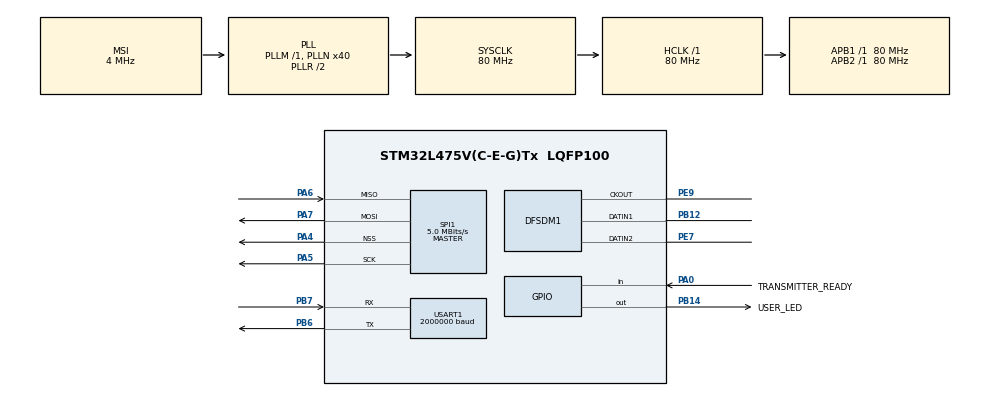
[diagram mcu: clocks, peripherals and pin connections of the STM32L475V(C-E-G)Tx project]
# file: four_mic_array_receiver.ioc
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DFSDM1.Divider=25
DFSDM1.DmaMode_reg_FIL0=ENABLE
DFSDM1.DmaMode_reg_FIL1=ENABLE
DFSDM1.FastMode_reg_FIL0=ENABLE
DFSDM1.FastMode_reg_FIL1=ENABLE
DFSDM1.Filter_regChannel_FIL0=DFSDM_CHANNEL_2
DFSDM1.Filter_regChannel_FIL1=DFSDM_CHANNEL_1
DFSDM1.Fosr_FIL0=200
DFSDM1.Fosr_FIL1=200
DFSDM1.RightBitShift_CH1=0x03
DFSDM1.Trigger_reg_FIL1=DFSDM_FILTER_SYNC_TRIGGER
DFSDM1.Type_spi_CH1=DFSDM_CHANNEL_SPI_FALLING
Dma.DFSDM1_FLT0.0.Direction=DMA_PERIPH_TO_MEMORY
Dma.DFSDM1_FLT0.0.Instance=DMA1_Channel4
Dma.DFSDM1_FLT0.0.MemDataAlignment=DMA_MDATAALIGN_WORD
Dma.DFSDM1_FLT0.0.MemInc=DMA_MINC_ENABLE
Dma.DFSDM1_FLT0.0.Mode=DMA_CIRCULAR
Dma.DFSDM1_FLT0.0.PeriphDataAlignment=DMA_PDATAALIGN_WORD
Dma.DFSDM1_FLT0.0.PeriphInc=DMA_PINC_DISABLE
Dma.DFSDM1_FLT0.0.Priority=DMA_PRIORITY_LOW
Dma.DFSDM1_FLT1.1.Direction=DMA_PERIPH_TO_MEMORY
Dma.DFSDM1_FLT1.1.Instance=DMA1_Channel5
Dma.DFSDM1_FLT1.1.MemDataAlignment=DMA_MDATAALIGN_WORD
Dma.DFSDM1_FLT1.1.MemInc=DMA_MINC_ENABLE
Dma.DFSDM1_FLT1.1.Mode=DMA_CIRCULAR
Dma.DFSDM1_FLT1.1.PeriphDataAlignment=DMA_PDATAALIGN_WORD
Dma.DFSDM1_FLT1.1.PeriphInc=DMA_PINC_DISABLE
Dma.DFSDM1_FLT1.1.Priority=DMA_PRIORITY_LOW
Dma.Request0=DFSDM1_FLT0
Dma.Request1=DFSDM1_FLT1
Mcu.Family=STM32L4
Mcu.Name=STM32L475V(C-E-G)Tx
Mcu.Package=LQFP100
NVIC.DMA1_Channel4_IRQn=true\:0\:0\:false\:false\:true\:false\:true\:true
NVIC.DMA1_Channel5_IRQn=true\:0\:0\:false\:false\:true\:false\:true\:true
NVIC.PriorityGroup=NVIC_PRIORITYGROUP_4
PA0.GPIO_Label=TRANSMITTER_READY
PA0.GPIO_Pull=GPIO_PULLDOWN
PA0.Signal=GPIO_Input
PA4.Mode=NSS_Signal_Hard_Output
PA4.Signal=SPI1_NSS
PA5.Mode=Full_Duplex_Master
PA5.Signal=SPI1_SCK
PA6.Mode=Full_Duplex_Master
PA6.Signal=SPI1_MISO
PA7.Mode=Full_Duplex_Master
PA7.Signal=SPI1_MOSI
PB12.Signal=S_DATAIN1DFSDM1
PB14.GPIO_Label=USER_LED
PB14.Signal=GPIO_Output
PB6.Mode=Asynchronous
PB6.Signal=USART1_TX
PB7.Mode=Asynchronous
PB7.Signal=USART1_RX
PE7.Signal=S_DATAIN2DFSDM1
PE9.Signal=S_CKOUTDFSDM1
ProjectManager.HeapSize=0x200
ProjectManager.StackSize=0x400
ProjectManager.TargetToolchain=STM32CubeIDE
RCC.ADCFreq_Value=48000000
RCC.AHBFreq_Value=80000000
RCC.APB1Freq_Value=80000000
RCC.APB1TimFreq_Value=80000000
RCC.APB2Freq_Value=80000000
RCC.APB2TimFreq_Value=80000000
RCC.CortexFreq_Value=80000000
RCC.HCLKFreq_Value=80000000
RCC.HSE_VALUE=8000000
RCC.HSI_VALUE=16000000
RCC.LSE_VALUE=32768
RCC.MSI_VALUE=4000000
RCC.PLLN=40
RCC.PLLSAI1N=24
RCC.SYSCLKFreq_VALUE=80000000
RCC.SYSCLKSource=RCC_SYSCLKSOURCE_PLLCLK
RCC.USBFreq_Value=48000000
RCC.VCOOutputFreq_Value=160000000
SH.S_CKOUTDFSDM1.0=DFSDM1_CKOUT,PDM_SPI_input_from_ch1_and_internal_clock
SH.S_CKOUTDFSDM1.1=DFSDM1_CKOUT,PDM_SPI_input_from_ch2_and_internal_clock
SH.S_DATAIN1DFSDM1.0=DFSDM1_DATIN1,PDM_SPI_input_from_ch1_and_internal_clock
SH.S_DATAIN2DFSDM1.0=DFSDM1_DATIN2,PDM_SPI_input_from_ch2_and_internal_clock
SPI1.BaudRatePrescaler=SPI_BAUDRATEPRESCALER_16
SPI1.CalculateBaudRate=5.0 MBits/s
SPI1.DataSize=SPI_DATASIZE_8BIT
SPI1.Direction=SPI_DIRECTION_2LINES
SPI1.Mode=SPI_MODE_MASTER
SPI1.VirtualNSS=VM_NSSHARD
SPI1.VirtualType=VM_MASTER
USART1.BaudRate=2000000
USART1.VirtualMode-Asynchronous=VM_ASYNC
board=B-L475E-IOT01A1

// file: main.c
/* USER CODE BEGIN Header */
/**
  ******************************************************************************
  * @file           : main.c
  * @brief        m
  *    : Board A receiver/master
  ******************************************************************************
  */
/* USER CODE END Header */
#include "main.h"

/* USER CODE BEGIN Includes */
#include "audio_frame.h"
#include "combined_audio_frame.h"
#include <stdint.h>
#include <string.h>
/* USER CODE END Includes */

DFSDM_Filter_HandleTypeDef hdfsdm1_filter0;
DFSDM_Filter_HandleTypeDef hdfsdm1_filter1;
DFSDM_Channel_HandleTypeDef hdfsdm1_channel1;
DFSDM_Channel_HandleTypeDef hdfsdm1_channel2;
DMA_HandleTypeDef hdma_dfsdm1_flt0;
DMA_HandleTypeDef hdma_dfsdm1_flt1;

SPI_HandleTypeDef hspi1;

UART_HandleTypeDef huart1;

/* USER CODE BEGIN PV */
volatile uint32_t spi_valid_frames = 0;
volatile uint32_t spi_timeouts = 0;
volatile uint32_t spi_transfer_errors = 0;
volatile uint32_t spi_bad_magic = 0;
volatile uint32_t spi_bad_length = 0;
volatile uint32_t spi_bad_checksum = 0;
volatile uint32_t spi_frame_id_gaps = 0;
volatile uint16_t spi_last_frame_id = 0;
volatile uint16_t spi_last_received_checksum = 0;
volatile uint16_t spi_last_expected_checksum = 0;
static uint32_t valid_frame_count = 0;
#define RECEIVER_STARTUP_DELAY_MS 250U
#define SPI_BAD_MAGIC_RECOVERY_THRESHOLD 32U
static uint32_t spi_bad_magic_streak = 0;

#define MIC_DMA_SAMPLES 1024U
#define MIC_HALF_SAMPLES (MIC_DMA_SAMPLES / 2U)
#define MIC_GAIN 4
static int32_t mic0_dma[MIC_DMA_SAMPLES];
static int32_t mic1_dma[MIC_DMA_SAMPLES];
static volatile uint8_t mic0_half_ready[2];
static volatile uint8_t mic1_half_ready[2];
#define LOCAL_AUDIO_QUEUE_DEPTH 4U
static int16_t local_audio_queue[LOCAL_AUDIO_QUEUE_DEPTH]
                         [AUDIO_FRAME_SAMPLES * AUDIO_CHANNELS];
static volatile uint8_t local_queue_head = 0;
static volatile uint8_t local_queue_tail = 0;
static int16_t latest_local_samples[AUDIO_FRAME_SAMPLES * AUDIO_CHANNELS];
static volatile uint32_t local_audio_underruns = 0;
static volatile uint32_t local_audio_overruns = 0;
static volatile uint32_t combined_audio_frames = 0;
static uint16_t combined_frame_id = 0;

#define SPI_FRAME_QUEUE_DEPTH 4U
static uint8_t spi_clock_bytes[AUDIO_FRAME_TOTAL_BYTES];
static AudioFrame_t spi_dma_frame;
static AudioFrame_t spi_frame_queue[SPI_FRAME_QUEUE_DEPTH];
static volatile uint8_t spi_queue_head = 0;
static volatile uint8_t spi_queue_tail = 0;
static volatile uint8_t spi_dma_active = 0;
static volatile uint8_t spi_dma_error = 0;
static volatile uint32_t spi_queue_overruns = 0;

#define UART_FRAME_QUEUE_DEPTH 4U
static CombinedAudioFrame_t uart_frame_queue[UART_FRAME_QUEUE_DEPTH];
static volatile uint8_t uart_queue_head = 0;
static volatile uint8_t uart_queue_tail = 0;
static volatile uint8_t uart_dma_active = 0;
static volatile uint32_t uart_queue_overruns = 0;
static volatile uint32_t uart_transfer_errors = 0;

/* USER CODE END PV */

void SystemClock_Config(void);
static void MX_GPIO_Init(void);
static void MX_DMA_Init(void);
static void MX_DFSDM1_Init(void);
static void MX_USART1_UART_Init(void);
static void MX_SPI1_Init(void);
/* USER CODE BEGIN PFP */
static int ValidateAudioFrame(const AudioFrame_t *frame);
static void StartSPIFrameDMA(void);
static void ServiceSPIFrameQueue(uint16_t *expected_frame_id);
static void ServiceUARTFrameQueue(void);
static void ProcessRemoteAudioFrame(AudioFrame_t *frame);
static int16_t ClampAudio(int32_t value);
static void ProcessLocalMicHalf(uint32_t offset);
static void ServiceLocalMicrophones(void);
static void TakeLocalAudioFrame(int16_t *samples);
static void BuildAndForwardCombinedFrame(const AudioFrame_t *remote_frame);
static void RecoverSPI1(void);
static int TransmitterReady(void);
/* USER CODE END PFP */

/* USER CODE BEGIN 0 */

/* Validate one complete frame after the SPI DMA transfer has finished. */
static int ValidateAudioFrame(const AudioFrame_t *frame)
{
    if (frame->magic0 != AUDIO_FRAME_MAGIC_0 ||
        frame->magic1 != AUDIO_FRAME_MAGIC_1)
    {
        spi_bad_magic++;
        spi_bad_magic_streak++;
        if (spi_bad_magic_streak >= SPI_BAD_MAGIC_RECOVERY_THRESHOLD)
        {
            RecoverSPI1();
            spi_bad_magic_streak = 0;
            HAL_Delay(1);
        }
        return 0;
    }

    spi_bad_magic_streak = 0;

    if (frame->payload_size != AUDIO_PAYLOAD_BYTES)
    {
        spi_bad_length++;
        return 0;
    }

    uint16_t expected_checksum = audio_checksum_u8(
        (uint8_t *)frame,
        AUDIO_FRAME_TOTAL_BYTES - AUDIO_FRAME_CRC_BYTES
    );
    spi_last_frame_id = frame->frame_id;
    spi_last_received_checksum = frame->checksum;
    spi_last_expected_checksum = expected_checksum;

    if (frame->checksum != expected_checksum)
    {
        spi_bad_checksum++;
        return 0;
    }

    spi_valid_frames++;
    return 1;
}

static void StartSPIFrameDMA(void)
{
    if (spi_dma_active || spi_dma_error || !TransmitterReady())
    {
        return;
    }

    if (HAL_SPI_TransmitReceive_DMA(&hspi1,
                                   spi_clock_bytes,
                                   (uint8_t *)&spi_dma_frame,
                                   AUDIO_FRAME_TOTAL_BYTES) != HAL_OK)
    {
        spi_transfer_errors++;
        spi_dma_error = 1;
        return;
    }

    spi_dma_active = 1;
}

/*
 * Placeholder for using the received Board B audio.
 */
static int16_t ClampAudio(int32_t value)
{
    if (value > 32767) return 32767;
    if (value < -32768) return -32768;
    return (int16_t)value;
}

static void ProcessLocalMicHalf(uint32_t offset)
{
    /* Each DMA half contains 512 samples, enough for two 256-sample frames. */
    for (uint32_t base = 0; base < MIC_HALF_SAMPLES; base += AUDIO_FRAME_SAMPLES)
    {
        uint8_t next_head = (uint8_t)((local_queue_head + 1U) % LOCAL_AUDIO_QUEUE_DEPTH);
        if (next_head == local_queue_tail)
        {
            local_audio_overruns++;
            continue;
        }
        int16_t *local_frame = local_audio_queue[local_queue_head];
        for (uint32_t i = 0; i < AUDIO_FRAME_SAMPLES; i++)
        {
            uint32_t index = offset + base + i;
            local_frame[2U * i] =
                ClampAudio((mic0_dma[index] >> 8) * MIC_GAIN);
            local_frame[2U * i + 1U] =
                ClampAudio((mic1_dma[index] >> 8) * MIC_GAIN);
        }
        memcpy(latest_local_samples, local_frame, sizeof(latest_local_samples));
        local_queue_head = next_head;
    }
}

static void TakeLocalAudioFrame(int16_t *samples)
{
    if (local_queue_tail != local_queue_head)
    {
        memcpy(samples, local_audio_queue[local_queue_tail],
               sizeof(latest_local_samples));
        local_queue_tail = (uint8_t)((local_queue_tail + 1U) % LOCAL_AUDIO_QUEUE_DEPTH);
    }
    else
    {
        memcpy(samples, latest_local_samples, sizeof(latest_local_samples));
        local_audio_underruns++;
    }
}

/* Re-arm the master peripheral after a slave was unplugged mid-transaction. */
static void RecoverSPI1(void)
{
    (void)HAL_SPI_Abort(&hspi1);
    HAL_SPI_DeInit(&hspi1);
    HAL_Delay(1);
    MX_SPI1_Init();
    spi_dma_active = 0;
    spi_dma_error = 0;
}

static int TransmitterReady(void)
{
    return HAL_GPIO_ReadPin(TRANSMITTER_READY_GPIO_Port,
                            TRANSMITTER_READY_Pin) == GPIO_PIN_SET;
}

static void ServiceLocalMicrophones(void)
{
    if (mic0_half_ready[0] && mic1_half_ready[0])
    {
        mic0_half_ready[0] = 0;
        mic1_half_ready[0] = 0;
        ProcessLocalMicHalf(0);
    }
    if (mic0_half_ready[1] && mic1_half_ready[1])
    {
        mic0_half_ready[1] = 0;
        mic1_half_ready[1] = 0;
        ProcessLocalMicHalf(MIC_HALF_SAMPLES);
    }
}

static void BuildAndForwardCombinedFrame(const AudioFrame_t *remote_frame)
{
    int16_t local_samples[AUDIO_FRAME_SAMPLES * AUDIO_CHANNELS];
    uint8_t next_head = (uint8_t)((uart_queue_head + 1U) % UART_FRAME_QUEUE_DEPTH);

    if (next_head == uart_queue_tail)
    {
        uart_queue_overruns++;
        return;
    }

    CombinedAudioFrame_t *combined = &uart_frame_queue[uart_queue_head];

    TakeLocalAudioFrame(local_samples);

    combined->magic0 = COMBINED_AUDIO_MAGIC_0;
    combined->magic1 = COMBINED_AUDIO_MAGIC_1;
    combined->frame_id = combined_frame_id++;
    combined->payload_size = COMBINED_AUDIO_PAYLOAD_BYTES;

    for (uint32_t i = 0; i < AUDIO_FRAME_SAMPLES; i++)
    {
        /* Channels 0/1 are transmitter mics; 2/3 are receiver mics. */
        combined->samples[4U * i] = remote_frame->samples[2U * i];
        combined->samples[4U * i + 1U] = remote_frame->samples[2U * i + 1U];
        combined->samples[4U * i + 2U] = local_samples[2U * i];
        combined->samples[4U * i + 3U] = local_samples[2U * i + 1U];
    }

    combined->checksum = audio_checksum_u8(
        (uint8_t *)combined,
        COMBINED_AUDIO_TOTAL_BYTES - COMBINED_AUDIO_CRC_BYTES);

    uart_queue_head = next_head;
}

static void ServiceUARTFrameQueue(void)
{
    if (uart_dma_active || uart_queue_tail == uart_queue_head)
    {
        return;
    }

    if (HAL_UART_Transmit_DMA(
            &huart1,
            (uint8_t *)&uart_frame_queue[uart_queue_tail],
            COMBINED_AUDIO_TOTAL_BYTES) == HAL_OK)
    {
        uart_dma_active = 1;
    }
    else
    {
        uart_transfer_errors++;
    }
}

static void ServiceSPIFrameQueue(uint16_t *expected_frame_id)
{
    while (spi_queue_tail != spi_queue_head)
    {
        AudioFrame_t *frame = &spi_frame_queue[spi_queue_tail];

        if (ValidateAudioFrame(frame))
        {
            if (frame->frame_id != *expected_frame_id)
            {
                if (spi_valid_frames > 1U)
                {
                    spi_frame_id_gaps +=
                        (uint16_t)(frame->frame_id - *expected_frame_id);
                }
                *expected_frame_id = frame->frame_id;
            }

            (*expected_frame_id)++;
            ProcessRemoteAudioFrame(frame);
        }

        spi_queue_tail = (uint8_t)((spi_queue_tail + 1U) % SPI_FRAME_QUEUE_DEPTH);
    }
}

static void ProcessRemoteAudioFrame(AudioFrame_t *frame)
{
    valid_frame_count++;
    if ((valid_frame_count % 16U) == 0U)
    {
        HAL_GPIO_TogglePin(USER_LED_GPIO_Port, USER_LED_Pin);
    }
    BuildAndForwardCombinedFrame(frame);
}

void HAL_DFSDM_FilterRegConvHalfCpltCallback(DFSDM_Filter_HandleTypeDef *hdfsdm_filter)
{
    if (hdfsdm_filter == &hdfsdm1_filter0) mic0_half_ready[0] = 1;
    if (hdfsdm_filter == &hdfsdm1_filter1) mic1_half_ready[0] = 1;
}

void HAL_DFSDM_FilterRegConvCpltCallback(DFSDM_Filter_HandleTypeDef *hdfsdm_filter)
{
    if (hdfsdm_filter == &hdfsdm1_filter0) mic0_half_ready[1] = 1;
    if (hdfsdm_filter == &hdfsdm1_filter1) mic1_half_ready[1] = 1;
}

void HAL_SPI_TxRxCpltCallback(SPI_HandleTypeDef *hspi)
{
    if (hspi != &hspi1)
    {
        return;
    }

    if (((spi_queue_head + 1U) % SPI_FRAME_QUEUE_DEPTH) == spi_queue_tail)
    {
        spi_queue_overruns++;
    }
    else
    {
        memcpy(&spi_frame_queue[spi_queue_head], &spi_dma_frame,
               sizeof(spi_dma_frame));
        spi_queue_head = (uint8_t)((spi_queue_head + 1U) % SPI_FRAME_QUEUE_DEPTH);
    }

    spi_dma_active = 0;
}

void HAL_SPI_ErrorCallback(SPI_HandleTypeDef *hspi)
{
    if (hspi == &hspi1)
    {
        spi_transfer_errors++;
        spi_dma_active = 0;
        spi_dma_error = 1;
    }
}

void HAL_UART_TxCpltCallback(UART_HandleTypeDef *huart)
{
    if (huart == &huart1)
    {
        uart_queue_tail =
            (uint8_t)((uart_queue_tail + 1U) % UART_FRAME_QUEUE_DEPTH);
        uart_dma_active = 0;
        combined_audio_frames++;
    }
}

void HAL_UART_ErrorCallback(UART_HandleTypeDef *huart)
{
    if (huart == &huart1)
    {
        uart_transfer_errors++;
        uart_dma_active = 0;
        if (uart_queue_tail != uart_queue_head)
        {
            uart_queue_tail =
                (uint8_t)((uart_queue_tail + 1U) % UART_FRAME_QUEUE_DEPTH);
        }
    }
}

/* USER CODE END 0 */

int main(void)
{

  /* USER CODE BEGIN 1 */
  uint16_t expected_frame_id = 0;
  /* USER CODE END 1 */

  /* MCU Configuration--------------------------------------------------------*/

  /* Reset of all peripherals, Initializes the Flash interface and the Systick. */
  HAL_Init();

  /* Configure the system clock */
  SystemClock_Config();

  /* Initialize all configured peripherals */
  MX_GPIO_Init();
  MX_DMA_Init();
  MX_DFSDM1_Init();
  MX_USART1_UART_Init();
  MX_SPI1_Init();
  /* USER CODE BEGIN 2 */
  if (HAL_DFSDM_FilterRegularStart_DMA(&hdfsdm1_filter1, mic1_dma,
                                       MIC_DMA_SAMPLES) != HAL_OK)
  {
      Error_Handler();
  }
  if (HAL_DFSDM_FilterRegularStart_DMA(&hdfsdm1_filter0, mic0_dma,
                                       MIC_DMA_SAMPLES) != HAL_OK)
  {
      Error_Handler();
  }
  /* Let the transmitter boot and arm its SPI slave before we clock it. */
  HAL_Delay(RECEIVER_STARTUP_DELAY_MS);
  /*
   * Board A is the SPI master. It drives hardware NSS on PA4 low and
   * supplies SPI clocks,
   * and reads one complete frame from the transmitter slave.
   */
  /* USER CODE END 2 */

  /* Infinite loop */
  /* USER CODE BEGIN WHILE */

  while (1)
  {

    ServiceLocalMicrophones();

    /*
     * SPI and UART now run in the background.  The main loop only validates
     * completed SPI frames, builds combined frames, and starts queued UART
     * DMA transfers; it never waits for either serial transfer to finish.
     */
    ServiceSPIFrameQueue(&expected_frame_id);
    ServiceUARTFrameQueue();

    if (spi_dma_error)
    {
        RecoverSPI1();
    }

    StartSPIFrameDMA();

    /* USER CODE END WHILE */

  }
}

void SystemClock_Config(void)
{
  RCC_OscInitTypeDef RCC_OscInitStruct = {0};
  RCC_ClkInitTypeDef RCC_ClkInitStruct = {0};

  /** Configure the main internal regulator output voltage
  */
  if (HAL_PWREx_ControlVoltageScaling(PWR_REGULATOR_VOLTAGE_SCALE1) != HAL_OK)
  {
    Error_Handler();
  }

  /** Initializes the RCC Oscillators according to the specified parameters
  * in the RCC_OscInitTypeDef structure.
  */
  RCC_OscInitStruct.OscillatorType = RCC_OSCILLATORTYPE_MSI;
  RCC_OscInitStruct.MSIState = RCC_MSI_ON;
  RCC_OscInitStruct.MSICalibrationValue = 0;
  RCC_OscInitStruct.MSIClockRange = RCC_MSIRANGE_6;
  RCC_OscInitStruct.PLL.PLLState = RCC_PLL_ON;
  RCC_OscInitStruct.PLL.PLLSource = RCC_PLLSOURCE_MSI;
  RCC_OscInitStruct.PLL.PLLM = 1;
  RCC_OscInitStruct.PLL.PLLN = 40;
  RCC_OscInitStruct.PLL.PLLP = RCC_PLLP_DIV7;
  RCC_OscInitStruct.PLL.PLLQ = RCC_PLLQ_DIV2;
  RCC_OscInitStruct.PLL.PLLR = RCC_PLLR_DIV2;
  if (HAL_RCC_OscConfig(&RCC_OscInitStruct) != HAL_OK)
  {
    Error_Handler();
  }

  /** Initializes the CPU, AHB and APB buses clocks
  */
  RCC_ClkInitStruct.ClockType = RCC_CLOCKTYPE_HCLK|RCC_CLOCKTYPE_SYSCLK
                              |RCC_CLOCKTYPE_PCLK1|RCC_CLOCKTYPE_PCLK2;
  RCC_ClkInitStruct.SYSCLKSource = RCC_SYSCLKSOURCE_PLLCLK;
  RCC_ClkInitStruct.AHBCLKDivider = RCC_SYSCLK_DIV1;
  RCC_ClkInitStruct.APB1CLKDivider = RCC_HCLK_DIV1;
  RCC_ClkInitStruct.APB2CLKDivider = RCC_HCLK_DIV1;

  if (HAL_RCC_ClockConfig(&RCC_ClkInitStruct, FLASH_LATENCY_4) != HAL_OK)
  {
    Error_Handler();
  }
}

static void MX_DFSDM1_Init(void)
{

  hdfsdm1_filter0.Instance = DFSDM1_Filter0;
  hdfsdm1_filter0.Init.RegularParam.Trigger = DFSDM_FILTER_SW_TRIGGER;
  hdfsdm1_filter0.Init.RegularParam.FastMode = ENABLE;
  hdfsdm1_filter0.Init.RegularParam.DmaMode = ENABLE;
  hdfsdm1_filter0.Init.FilterParam.SincOrder = DFSDM_FILTER_FASTSINC_ORDER;
  hdfsdm1_filter0.Init.FilterParam.Oversampling = 200;
  hdfsdm1_filter0.Init.FilterParam.IntOversampling = 1;
  if (HAL_DFSDM_FilterInit(&hdfsdm1_filter0) != HAL_OK)
  {
    Error_Handler();
  }
  hdfsdm1_filter1.Instance = DFSDM1_Filter1;
  hdfsdm1_filter1.Init.RegularParam.Trigger = DFSDM_FILTER_SYNC_TRIGGER;
  hdfsdm1_filter1.Init.RegularParam.FastMode = ENABLE;
  hdfsdm1_filter1.Init.RegularParam.DmaMode = ENABLE;
  hdfsdm1_filter1.Init.FilterParam.SincOrder = DFSDM_FILTER_FASTSINC_ORDER;
  hdfsdm1_filter1.Init.FilterParam.Oversampling = 200;
  hdfsdm1_filter1.Init.FilterParam.IntOversampling = 1;
  if (HAL_DFSDM_FilterInit(&hdfsdm1_filter1) != HAL_OK)
  {
    Error_Handler();
  }
  hdfsdm1_channel1.Instance = DFSDM1_Channel1;
  hdfsdm1_channel1.Init.OutputClock.Activation = ENABLE;
  hdfsdm1_channel1.Init.OutputClock.Selection = DFSDM_CHANNEL_OUTPUT_CLOCK_SYSTEM;
  hdfsdm1_channel1.Init.OutputClock.Divider = 25;
  hdfsdm1_channel1.Init.Input.Multiplexer = DFSDM_CHANNEL_EXTERNAL_INPUTS;
  hdfsdm1_channel1.Init.Input.DataPacking = DFSDM_CHANNEL_STANDARD_MODE;
  hdfsdm1_channel1.Init.Input.Pins = DFSDM_CHANNEL_SAME_CHANNEL_PINS;
  hdfsdm1_channel1.Init.SerialInterface.Type = DFSDM_CHANNEL_SPI_FALLING;
  hdfsdm1_channel1.Init.SerialInterface.SpiClock = DFSDM_CHANNEL_SPI_CLOCK_INTERNAL;
  hdfsdm1_channel1.Init.Awd.FilterOrder = DFSDM_CHANNEL_FASTSINC_ORDER;
  hdfsdm1_channel1.Init.Awd.Oversampling = 1;
  hdfsdm1_channel1.Init.Offset = 0;
  hdfsdm1_channel1.Init.RightBitShift = 0x03;
  if (HAL_DFSDM_ChannelInit(&hdfsdm1_channel1) != HAL_OK)
  {
    Error_Handler();
  }
  hdfsdm1_channel2.Instance = DFSDM1_Channel2;
  hdfsdm1_channel2.Init.OutputClock.Activation = ENABLE;
  hdfsdm1_channel2.Init.OutputClock.Selection = DFSDM_CHANNEL_OUTPUT_CLOCK_SYSTEM;
  hdfsdm1_channel2.Init.OutputClock.Divider = 25;
  hdfsdm1_channel2.Init.Input.Multiplexer = DFSDM_CHANNEL_EXTERNAL_INPUTS;
  hdfsdm1_channel2.Init.Input.DataPacking = DFSDM_CHANNEL_STANDARD_MODE;
  hdfsdm1_channel2.Init.Input.Pins = DFSDM_CHANNEL_SAME_CHANNEL_PINS;
  hdfsdm1_channel2.Init.SerialInterface.Type = DFSDM_CHANNEL_SPI_RISING;
  hdfsdm1_channel2.Init.SerialInterface.SpiClock = DFSDM_CHANNEL_SPI_CLOCK_INTERNAL;
  hdfsdm1_channel2.Init.Awd.FilterOrder = DFSDM_CHANNEL_FASTSINC_ORDER;
  hdfsdm1_channel2.Init.Awd.Oversampling = 1;
  hdfsdm1_channel2.Init.Offset = 0;
  hdfsdm1_channel2.Init.RightBitShift = 0x00;
  if (HAL_DFSDM_ChannelInit(&hdfsdm1_channel2) != HAL_OK)
  {
    Error_Handler();
  }
  if (HAL_DFSDM_FilterConfigRegChannel(&hdfsdm1_filter0, DFSDM_CHANNEL_2, DFSDM_CONTINUOUS_CONV_ON) != HAL_OK)
  {
    Error_Handler();
  }
  if (HAL_DFSDM_FilterConfigRegChannel(&hdfsdm1_filter1, DFSDM_CHANNEL_1, DFSDM_CONTINUOUS_CONV_ON) != HAL_OK)
  {
    Error_Handler();
  }

}

static void MX_SPI1_Init(void)
{

  /* SPI1 parameter configuration*/
  hspi1.Instance = SPI1;
  hspi1.Init.Mode = SPI_MODE_MASTER;
  hspi1.Init.Direction = SPI_DIRECTION_2LINES;
  hspi1.Init.DataSize = SPI_DATASIZE_8BIT;
  hspi1.Init.CLKPolarity = SPI_POLARITY_LOW;
  hspi1.Init.CLKPhase = SPI_PHASE_1EDGE;
  hspi1.Init.NSS = SPI_NSS_HARD_OUTPUT;
  hspi1.Init.BaudRatePrescaler = SPI_BAUDRATEPRESCALER_16;
  hspi1.Init.FirstBit = SPI_FIRSTBIT_MSB;
  hspi1.Init.TIMode = SPI_TIMODE_DISABLE;
  hspi1.Init.CRCCalculation = SPI_CRCCALCULATION_DISABLE;
  hspi1.Init.CRCPolynomial = 7;
  hspi1.Init.CRCLength = SPI_CRC_LENGTH_DATASIZE;
  hspi1.Init.NSSPMode = SPI_NSS_PULSE_ENABLE;
  if (HAL_SPI_Init(&hspi1) != HAL_OK)
  {
    Error_Handler();
  }

}

static void MX_USART1_UART_Init(void)
{

  huart1.Instance = USART1;
  huart1.Init.BaudRate = 2000000;
  huart1.Init.WordLength = UART_WORDLENGTH_8B;
  huart1.Init.StopBits = UART_STOPBITS_1;
  huart1.Init.Parity = UART_PARITY_NONE;
  huart1.Init.Mode = UART_MODE_TX_RX;
  huart1.Init.HwFlowCtl = UART_HWCONTROL_NONE;
  huart1.Init.OverSampling = UART_OVERSAMPLING_16;
  huart1.Init.OneBitSampling = UART_ONE_BIT_SAMPLE_DISABLE;
  huart1.AdvancedInit.AdvFeatureInit = UART_ADVFEATURE_NO_INIT;
  if (HAL_UART_Init(&huart1) != HAL_OK)
  {
    Error_Handler();
  }

}

static void MX_DMA_Init(void)
{

  /* DMA controller clock enable */
  __HAL_RCC_DMA1_CLK_ENABLE();

  /* DMA interrupt init */
  /* DMA1_Channel4_IRQn interrupt configuration */
  HAL_NVIC_SetPriority(DMA1_Channel4_IRQn, 0, 0);
  HAL_NVIC_EnableIRQ(DMA1_Channel4_IRQn);
  /* DMA1_Channel5_IRQn interrupt configuration */
  HAL_NVIC_SetPriority(DMA1_Channel5_IRQn, 0, 0);
  HAL_NVIC_EnableIRQ(DMA1_Channel5_IRQn);

}

static void MX_GPIO_Init(void)
{
  GPIO_InitTypeDef GPIO_InitStruct = {0};

  /* GPIO Ports Clock Enable */
  __HAL_RCC_GPIOA_CLK_ENABLE();
  __HAL_RCC_GPIOE_CLK_ENABLE();
  __HAL_RCC_GPIOB_CLK_ENABLE();

  /*Configure GPIO pin Output Level */
  HAL_GPIO_WritePin(USER_LED_GPIO_Port, USER_LED_Pin, GPIO_PIN_RESET);

  /*Configure GPIO pin : TRANSMITTER_READY_Pin */
  GPIO_InitStruct.Pin = TRANSMITTER_READY_Pin;
  GPIO_InitStruct.Mode = GPIO_MODE_INPUT;
  GPIO_InitStruct.Pull = GPIO_NOPULL;
  HAL_GPIO_Init(TRANSMITTER_READY_GPIO_Port, &GPIO_InitStruct);

  /*Configure GPIO pin : USER_LED_Pin */
  GPIO_InitStruct.Pin = USER_LED_Pin;
  GPIO_InitStruct.Mode = GPIO_MODE_OUTPUT_PP;
  GPIO_InitStruct.Pull = GPIO_NOPULL;
  GPIO_InitStruct.Speed = GPIO_SPEED_FREQ_LOW;
  HAL_GPIO_Init(USER_LED_GPIO_Port, &GPIO_InitStruct);

}

void Error_Handler(void)
{
  __disable_irq();
  while (1)
  {
  }
}
